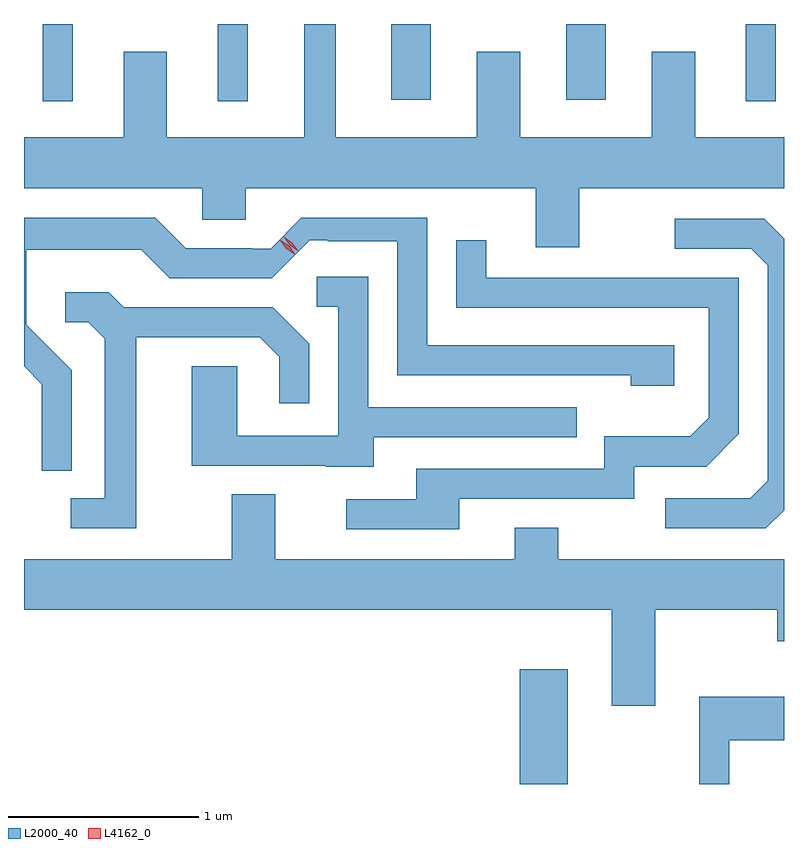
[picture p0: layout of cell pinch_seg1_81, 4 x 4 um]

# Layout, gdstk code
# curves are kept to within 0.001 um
import gdstk
lib = gdstk.Library(unit=1e-6, precision=1e-09)
def R(c, l, rs):  # rectangles x0, y0, x1, y1
    for r in rs: c.add(gdstk.rectangle(r[:2], r[2:], *l))
def P(c, l, *ps):  # polygons
    for p in ps: c.add(gdstk.Polygon(p, *l))
L2000_40 = (2000, 40)
L4162_0 = (4162, 0)

pinch_seg1_81 = lib.new_cell('pinch_seg1_81')
R(pinch_seg1_81, L2000_40, [(1025.226,876.46,1025.479,877.064), (1022.716,880.053,1022.874,880.46), (1023.636,880.053,1023.794,880.46), (1026.416,880.053,1026.574,880.46), (1024.551,880.061,1024.759,880.46), (1025.471,880.061,1025.679,880.46)])
P(pinch_seg1_81, L2000_40, [(1025.539,879.596),(1026.617,879.596),(1026.617,879.864),(1026.149,879.864),(1026.149,880.314),(1025.921,880.314),(1025.921,879.864),(1025.229,879.864),(1025.229,880.314),(1025.001,880.314),(1025.001,879.864),(1024.259,879.864),(1024.259,880.46),(1024.091,880.46),(1024.091,879.864),(1023.369,879.864),(1023.369,880.314),(1023.141,880.314),(1023.141,879.864),(1022.617,879.864),(1022.617,879.596),(1023.556,879.596),(1023.556,879.431),(1023.784,879.431),(1023.784,879.596),(1025.311,879.596),(1025.311,879.286),(1025.539,879.286)],
  [(1022.869,878.637),(1022.629,878.877),(1022.629,879.271),(1023.234,879.271),(1023.384,879.121),(1023.922,879.121),(1024.122,879.321),(1024.216,879.321),(1024.216,879.317),(1024.581,879.317),(1024.581,878.611),(1025.811,878.611),(1025.811,878.556),(1026.039,878.556),(1026.039,878.769),(1024.739,878.769),(1024.739,879.439),(1024.077,879.439),(1023.915,879.278),(1023.467,879.279),(1023.307,879.439),(1022.617,879.439),(1022.617,878.658),(1022.711,878.564),(1022.711,878.108),(1022.869,878.108)],
  [(1026.617,877.902),(1026.617,879.329),(1026.512,879.434),(1026.043,879.434),(1026.043,879.276),(1026.444,879.276),(1026.531,879.189),(1026.531,878.057),(1026.439,877.964),(1025.993,877.964),(1025.993,877.806),(1026.522,877.806)],
  [(1024.909,877.961),(1025.829,877.961),(1025.829,878.131),(1026.207,878.131),(1026.379,878.304),(1026.379,879.124),(1025.049,879.124),(1025.049,879.323),(1024.891,879.323),(1024.891,878.966),(1026.221,878.966),(1026.221,878.387),(1026.123,878.289),(1025.671,878.289),(1025.671,878.119),(1024.681,878.119),(1024.681,877.959),(1024.313,877.959),(1024.313,877.801),(1024.909,877.801)],
  [(1024.459,878.286),(1025.527,878.286),(1025.527,878.444),(1024.429,878.444),(1024.429,879.129),(1024.158,879.129),(1024.158,878.971),(1024.271,878.971),(1024.271,878.294),(1023.739,878.294),(1023.739,878.659),(1023.501,878.659),(1023.501,878.136),(1024.205,878.136),(1024.205,878.131),(1024.459,878.131)],
  [(1023.209,878.811),(1023.859,878.811),(1023.961,878.709),(1023.961,878.463),(1024.119,878.463),(1024.119,878.777),(1023.927,878.969),(1023.142,878.969),(1023.062,879.049),(1022.833,879.049),(1022.833,878.891),(1022.954,878.891),(1023.041,878.804),(1023.041,877.964),(1022.863,877.964),(1022.863,877.806),(1023.209,877.806)],
  [(1025.939,877.376),(1026.581,877.376),(1026.581,877.211),(1026.617,877.211),(1026.617,877.644),(1025.429,877.644),(1025.429,877.809),(1025.201,877.809),(1025.201,877.644),(1023.939,877.644),(1023.939,877.984),(1023.711,877.984),(1023.711,877.644),(1022.617,877.644),(1022.617,877.376),(1025.711,877.376),(1025.711,876.871),(1025.939,876.871)],
  [(1026.329,876.691),(1026.617,876.691),(1026.617,876.919),(1026.171,876.919),(1026.171,876.46),(1026.329,876.46)])
P(pinch_seg1_81, L4162_0, [(1024.059,879.266),(1024.015,879.296),(1023.985,879.34),(1023.985,879.34),(1023.985,879.34),(1024.03,879.31),(1024.06,879.267),(1024.06,879.266)],
  [(1024.044,879.245),(1023.997,879.278),(1023.964,879.325),(1023.964,879.325),(1023.964,879.325),(1024.012,879.292),(1024.045,879.245),(1024.045,879.245)])

lib.write_gds('pinch_seg1_81.gds')
